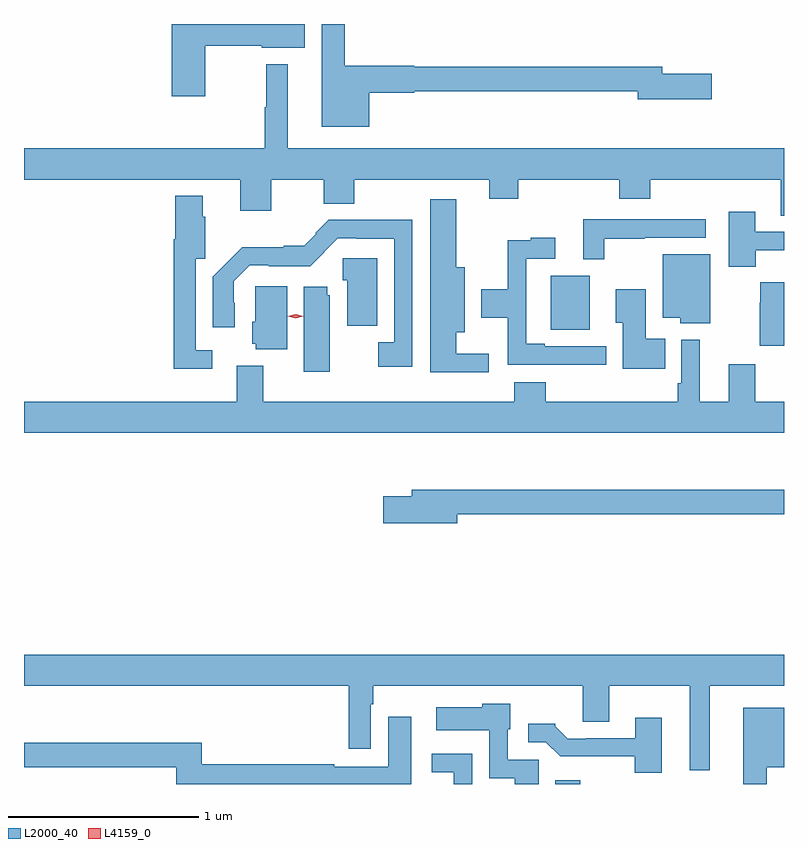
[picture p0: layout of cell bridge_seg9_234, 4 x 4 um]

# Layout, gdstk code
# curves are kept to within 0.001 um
import gdstk
lib = gdstk.Library(unit=1e-6, precision=1e-09)
def R(c, l, rs):  # rectangles x0, y0, x1, y1
    for r in rs: c.add(gdstk.rectangle(r[:2], r[2:], *l))
def P(c, l, *ps):  # polygons
    for p in ps: c.add(gdstk.Polygon(p, *l))
L2000_40 = (2000, 40)
L4159_0 = (4159, 0)

bridge_seg9_234 = lib.new_cell('bridge_seg9_234')
R(bridge_seg9_234, L2000_40, [(360.713,1217.215,360.844,1217.236), (360.689,1219.607,360.895,1219.891)])
P(bridge_seg9_234, L2000_40, [(359.734,1220.854),(359.97,1220.854),(359.97,1220.862),(361.148,1220.862),(361.148,1220.819),(361.537,1220.819),(361.537,1220.954),(361.276,1220.954),(361.276,1220.99),(359.97,1220.99),(359.97,1220.996),(359.605,1220.996),(359.605,1221.215),(359.483,1221.215),(359.483,1220.675),(359.734,1220.675)],
  [(358.872,1221.1),(359.168,1221.1),(359.168,1221.089),(359.395,1221.089),(359.395,1221.215),(358.694,1221.215),(358.694,1220.835),(358.872,1220.835)],
  [(361.917,1220.56),(359.305,1220.56),(359.305,1221.004),(359.191,1221.004),(359.191,1220.777),(359.184,1220.777),(359.184,1220.56),(357.917,1220.56),(357.917,1220.396),(359.054,1220.396),(359.054,1220.232),(359.218,1220.232),(359.218,1220.396),(359.495,1220.396),(359.495,1220.27),(359.656,1220.27),(359.656,1220.396),(360.365,1220.396),(360.365,1220.294),(360.518,1220.294),(360.518,1220.396),(361.049,1220.396),(361.049,1220.294),(361.214,1220.294),(361.214,1220.396),(361.901,1220.396),(361.901,1220.206),(361.917,1220.206)],
  [(358.909,1219.497),(358.821,1219.497),(358.821,1219.98),(358.871,1219.98),(358.871,1220.201),(358.858,1220.201),(358.858,1220.311),(358.712,1220.311),(358.712,1220.083),(358.705,1220.083),(358.705,1219.4),(358.909,1219.4)],
  [(360.364,1219.479),(360.193,1219.479),(360.193,1219.592),(360.238,1219.592),(360.238,1219.936),(360.193,1219.936),(360.193,1220.293),(360.056,1220.293),(360.056,1219.382),(360.364,1219.382)],
  [(361.768,1220.024),(361.917,1220.024),(361.917,1220.121),(361.765,1220.121),(361.765,1220.227),(361.625,1220.227),(361.625,1219.937),(361.768,1219.937)],
  [(360.97,1220.086),(361.184,1220.086),(361.184,1220.091),(361.504,1220.091),(361.504,1220.187),(360.86,1220.187),(360.86,1219.976),(360.97,1219.976)],
  [(359.961,1220.185),(359.521,1220.185),(359.451,1220.115),(359.455,1220.111),(359.393,1220.049),(359.285,1220.049),(359.285,1220.041),(359.065,1220.041),(358.91,1219.884),(358.91,1219.62),(359.026,1219.62),(359.026,1219.747),(359.022,1219.747),(359.022,1219.86),(359.106,1219.944),(359.206,1219.944),(359.206,1219.94),(359.424,1219.94),(359.498,1220.014),(359.496,1220.016),(359.568,1220.088),(359.668,1220.088),(359.668,1220.084),(359.865,1220.084),(359.865,1219.54),(359.781,1219.54),(359.781,1219.412),(359.961,1219.412)],
  [(360.982,1219.518),(360.658,1219.518),(360.658,1219.531),(360.561,1219.531),(360.561,1219.98),(360.712,1219.98),(360.712,1220.089),(360.584,1220.089),(360.584,1220.078),(360.463,1220.078),(360.463,1219.818),(360.323,1219.818),(360.323,1219.67),(360.463,1219.67),(360.463,1219.422),(360.745,1219.422),(360.745,1219.421),(360.982,1219.421)],
  [(361.528,1220.002),(361.28,1220.002),(361.28,1219.67),(361.37,1219.67),(361.37,1219.64),(361.528,1219.64)],
  [(359.776,1219.983),(359.595,1219.983),(359.595,1219.866),(359.618,1219.866),(359.618,1219.628),(359.776,1219.628)],
  [(361.917,1219.855),(361.792,1219.855),(361.792,1219.748),(361.79,1219.748),(361.79,1219.521),(361.917,1219.521)],
  [(359.302,1219.836),(359.133,1219.836),(359.133,1219.647),(359.117,1219.647),(359.117,1219.533),(359.136,1219.533),(359.136,1219.502),(359.302,1219.502)],
  [(359.527,1219.788),(359.512,1219.788),(359.512,1219.831),(359.39,1219.831),(359.39,1219.386),(359.527,1219.386)],
  [(361.292,1219.558),(361.189,1219.558),(361.189,1219.819),(361.031,1219.819),(361.031,1219.642),(361.067,1219.642),(361.067,1219.4),(361.292,1219.4)],
  [(361.917,1219.228),(361.765,1219.228),(361.765,1219.423),(361.625,1219.423),(361.625,1219.228),(361.474,1219.228),(361.474,1219.552),(361.377,1219.552),(361.377,1219.324),(361.357,1219.324),(361.357,1219.228),(360.662,1219.228),(360.662,1219.33),(360.497,1219.33),(360.497,1219.228),(359.176,1219.228),(359.176,1219.417),(359.036,1219.417),(359.036,1219.228),(357.917,1219.228),(357.917,1219.064),(361.917,1219.064)],
  [(360.196,1218.634),(361.917,1218.634),(361.917,1218.763),(359.957,1218.763),(359.957,1218.729),(359.808,1218.729),(359.808,1218.587),(360.196,1218.587)],
  [(357.917,1217.732),(359.626,1217.732),(359.626,1217.4),(359.742,1217.4),(359.742,1217.636),(359.755,1217.636),(359.755,1217.732),(360.857,1217.732),(360.857,1217.542),(360.997,1217.542),(360.997,1217.732),(361.421,1217.732),(361.421,1217.288),(361.525,1217.288),(361.525,1217.732),(361.917,1217.732),(361.917,1217.896),(357.917,1217.896)],
  [(360.625,1217.343),(360.462,1217.343),(360.462,1217.502),(360.475,1217.502),(360.475,1217.638),(360.33,1217.638),(360.33,1217.62),(360.087,1217.62),(360.087,1217.498),(360.366,1217.498),(360.366,1217.246),(360.5,1217.246),(360.5,1217.215),(360.625,1217.215)],
  [(361.825,1217.302),(361.917,1217.302),(361.917,1217.617),(361.703,1217.617),(361.703,1217.215),(361.825,1217.215)],
  [(359.956,1217.569),(359.834,1217.569),(359.834,1217.307),(359.549,1217.307),(359.549,1217.32),(358.853,1217.32),(358.853,1217.431),(357.917,1217.431),(357.917,1217.302),(358.717,1217.302),(358.717,1217.215),(359.956,1217.215)],
  [(361.273,1217.563),(361.133,1217.563),(361.133,1217.457),(360.877,1217.457),(360.877,1217.454),(360.778,1217.454),(360.714,1217.518),(360.714,1217.533),(360.57,1217.533),(360.57,1217.436),(360.663,1217.436),(360.739,1217.36),(361.131,1217.36),(361.131,1217.273),(361.273,1217.273)],
  [(360.276,1217.373),(360.063,1217.373),(360.063,1217.277),(360.18,1217.277),(360.18,1217.215),(360.276,1217.215)])
P(bridge_seg9_234, L4159_0, [(359.347,1219.667),(359.306,1219.677),(359.305,1219.677),(359.306,1219.677),(359.347,1219.687),(359.388,1219.677),(359.388,1219.676),(359.388,1219.676)])

lib.write_gds('bridge_seg9_234.gds')
